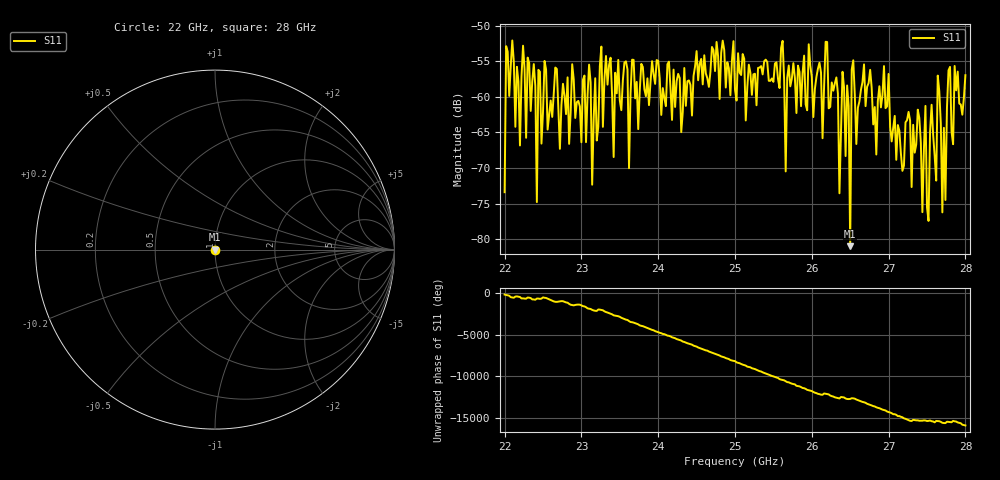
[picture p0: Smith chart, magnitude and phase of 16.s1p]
#  HZ  S  RI  R  50.00
! Rohde & Schwarz ZVA40 4Ports - Version 3.90 - 1145.1110k42 SN: 100403
! Date: 2023-10-04 08:12:35
! Measurement: S12
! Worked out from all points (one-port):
!   301 points, 22 GHz to 28 GHz, reference 50 ohm
!   lowest |S11| = -81.0 dB at 26.5 GHz (marker M1), VSWR 1.00, Z = 50 - j0.00875 ohm
!   |S11| at or under -10 dB: start of sweep to end of sweep
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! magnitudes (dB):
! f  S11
! 22 GHz  -73.4
! 22.02 GHz  -52.9
! 22.38 GHz  -55.4
! 22.42 GHz  -74.8
! 22.44 GHz  -56.2
! 22.76 GHz  -58.2
! 23.14 GHz  -72.3
! 23.26 GHz  -52.9
! 23.5 GHz  -60.5
! 24.26 GHz  -56.8
! 25 GHz  -59.0
! 25.62 GHz  -52.1
! 25.66 GHz  -70.5
! 25.76 GHz  -55.3
! 26.14 GHz  -65.8
! 26.2 GHz  -52.3
! 26.36 GHz  -73.5
! 26.46 GHz  -58.4
! 26.5 GHz  -81.0
! 26.54 GHz  -54.9
! 27.26 GHz  -62.1
! 27.44 GHz  -76.2
! 27.48 GHz  -61.3
! 27.52 GHz  -77.4
! 27.64 GHz  -57.0
! 27.7 GHz  -76.2
! 27.78 GHz  -56.3
! 28 GHz  -57.0
